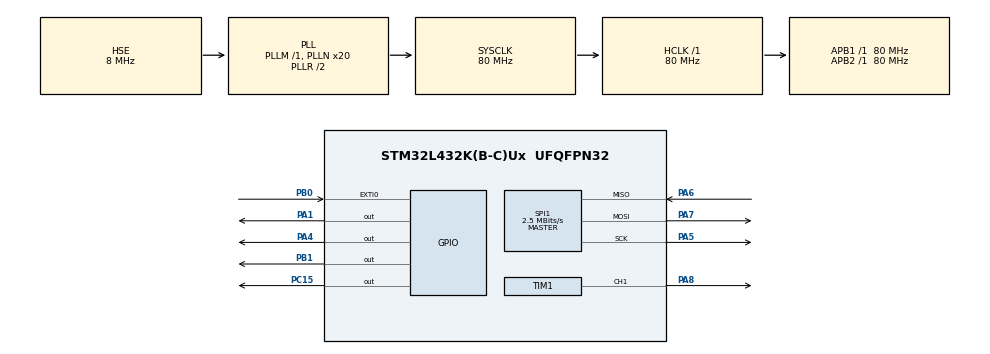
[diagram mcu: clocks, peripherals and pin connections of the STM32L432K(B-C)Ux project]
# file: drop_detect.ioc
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Dma.Request0=SPI1_RX
Dma.Request1=SPI1_TX
Dma.Request2=TIM1_CH1
Dma.SPI1_RX.0.Direction=DMA_PERIPH_TO_MEMORY
Dma.SPI1_RX.0.Instance=DMA2_Channel3
Dma.SPI1_RX.0.MemDataAlignment=DMA_MDATAALIGN_BYTE
Dma.SPI1_RX.0.MemInc=DMA_MINC_ENABLE
Dma.SPI1_RX.0.Mode=DMA_NORMAL
Dma.SPI1_RX.0.PeriphDataAlignment=DMA_PDATAALIGN_BYTE
Dma.SPI1_RX.0.PeriphInc=DMA_PINC_DISABLE
Dma.SPI1_RX.0.Priority=DMA_PRIORITY_LOW
Dma.SPI1_TX.1.Direction=DMA_MEMORY_TO_PERIPH
Dma.SPI1_TX.1.Instance=DMA2_Channel4
Dma.SPI1_TX.1.MemDataAlignment=DMA_MDATAALIGN_BYTE
Dma.SPI1_TX.1.MemInc=DMA_MINC_ENABLE
Dma.SPI1_TX.1.Mode=DMA_NORMAL
Dma.SPI1_TX.1.PeriphDataAlignment=DMA_PDATAALIGN_BYTE
Dma.SPI1_TX.1.PeriphInc=DMA_PINC_DISABLE
Dma.SPI1_TX.1.Priority=DMA_PRIORITY_LOW
Dma.TIM1_CH1.2.Direction=DMA_MEMORY_TO_PERIPH
Dma.TIM1_CH1.2.Instance=DMA1_Channel2
Dma.TIM1_CH1.2.MemDataAlignment=DMA_MDATAALIGN_BYTE
Dma.TIM1_CH1.2.MemInc=DMA_MINC_ENABLE
Dma.TIM1_CH1.2.Mode=DMA_NORMAL
Dma.TIM1_CH1.2.PeriphDataAlignment=DMA_PDATAALIGN_HALFWORD
Dma.TIM1_CH1.2.PeriphInc=DMA_PINC_DISABLE
Dma.TIM1_CH1.2.Priority=DMA_PRIORITY_LOW
FREERTOS.Tasks01=defaultTask,24,128,StartDefaultTask,Default,NULL,Dynamic,NULL,NULL;dropDetect,32,128,StartDropDetect,Default,NULL,Dynamic,NULL,NULL
Mcu.Family=STM32L4
Mcu.Name=STM32L432K(B-C)Ux
Mcu.Package=UFQFPN32
NVIC.DMA1_Channel2_IRQn=true\:5\:0\:false\:false\:true\:true\:false\:true\:true
NVIC.DMA2_Channel3_IRQn=true\:5\:0\:true\:false\:true\:true\:false\:true\:true
NVIC.DMA2_Channel4_IRQn=true\:5\:0\:false\:false\:true\:true\:false\:true\:true
NVIC.EXTI0_IRQn=true\:5\:0\:true\:false\:true\:true\:true\:true\:true
NVIC.PriorityGroup=NVIC_PRIORITYGROUP_4
NVIC.TIM1_UP_TIM16_IRQn=true\:5\:0\:false\:false\:true\:false\:false\:true\:true
NVIC.TimeBase=TIM1_UP_TIM16_IRQn
NVIC.TimeBaseIP=TIM16
PA0.Mode=HSE-External-Clock-Source-for-LittleOrca
PA0.Signal=RCC_CK_IN
PA1.PinState=GPIO_PIN_SET
PA1.Signal=GPIO_Output
PA13\ (JTMS-SWDIO).Mode=Trace_Asynchronous_SW
PA13\ (JTMS-SWDIO).Signal=SYS_JTMS-SWDIO
PA14\ (JTCK-SWCLK).Mode=Trace_Asynchronous_SW
PA14\ (JTCK-SWCLK).Signal=SYS_JTCK-SWCLK
PA4.PinState=GPIO_PIN_SET
PA4.Signal=GPIO_Output
PA5.Mode=Full_Duplex_Master
PA5.Signal=SPI1_SCK
PA6.Mode=Full_Duplex_Master
PA6.Signal=SPI1_MISO
PA7.Mode=Full_Duplex_Master
PA7.Signal=SPI1_MOSI
PA8.Signal=S_TIM1_CH1
PB0.GPIO_ModeDefaultEXTI=GPIO_MODE_IT_FALLING
PB0.GPIO_PuPd=GPIO_PULLUP
PB0.Signal=GPXTI0
PB1.PinState=GPIO_PIN_SET
PB1.Signal=GPIO_Output
PB3\ (JTDO-TRACESWO).Mode=Trace_Asynchronous_SW
PB3\ (JTDO-TRACESWO).Signal=SYS_JTDO-SWO
PC15-OSC32_OUT\ (PC15).GPIO_PuPd=GPIO_PULLDOWN
PC15-OSC32_OUT\ (PC15).Signal=GPIO_Output
ProjectManager.HeapSize=0x200
ProjectManager.StackSize=0x400
ProjectManager.TargetToolchain=CMake
RCC.ADCFreq_Value=32000000
RCC.AHBFreq_Value=80000000
RCC.APB1Freq_Value=80000000
RCC.APB1TimFreq_Value=80000000
RCC.APB2Freq_Value=80000000
RCC.APB2TimFreq_Value=80000000
RCC.CortexFreq_Value=80000000
RCC.HCLKFreq_Value=80000000
RCC.HSE_VALUE=8000000
RCC.HSI16_VALUE=16000000
RCC.HSI48_VALUE=48000000
RCC.HSI_VALUE=16000000
RCC.LSE_VALUE=32768
RCC.MSI_VALUE=4000000
RCC.PLLMUL=RCC_PLLMUL_4
RCC.PLLN=20
RCC.PLLSourceVirtual=RCC_PLLSOURCE_HSE
RCC.SYSCLKFreq_VALUE=80000000
RCC.SYSCLKSource=RCC_SYSCLKSOURCE_PLLCLK
RCC.USBFreq_Value=32000000
RCC.VCOOutputFreq_Value=160000000
SH.S_TIM1_CH1.0=TIM1_CH1,PWM Generation1 CH1
SPI1.BaudRatePrescaler=SPI_BAUDRATEPRESCALER_32
SPI1.CLKPhase=SPI_PHASE_2EDGE
SPI1.CLKPolarity=SPI_POLARITY_HIGH
SPI1.CalculateBaudRate=2.5 MBits/s
SPI1.DataSize=SPI_DATASIZE_8BIT
SPI1.Direction=SPI_DIRECTION_2LINES
SPI1.Mode=SPI_MODE_MASTER
SPI1.VirtualType=VM_MASTER
TIM1.Channel-PWM\ Generation1\ CH1=TIM_CHANNEL_1
TIM1.Period=25-1
TIM1.Prescaler=3-1
TIM2.Channel-PWM\ Generation1\ No\ Output=TIM_CHANNEL_1
TIM2.Prescaler=79
VP_FREERTOS_VS_CMSIS_V2.Mode=CMSIS_V2
VP_SYS_VS_tim16.Mode=TIM16
VP_TIM2_VS_no_output1.Mode=PWM Generation1 No Output
board=NUCLEO-L432KC

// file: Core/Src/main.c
/* USER CODE BEGIN Header */
/**
  ******************************************************************************
  * @file           : main.c
  * @brief          : Main program body
  ******************************************************************************
  * @attention
  *
  * Copyright (c) 2025 STMicroelectronics.
  * All rights reserved.
  *
  * This software is licensed under terms that can be found in the LICENSE file
  * in the root directory of this software component.
  * If no LICENSE file comes with this software, it is provided AS-IS.
  *
  ******************************************************************************
  */
/* USER CODE END Header */
#include "main.h"
#include "cmsis_os.h"

/* USER CODE BEGIN Includes */
#include "bno085_runner.h"
#include "configuration.h"
#include "drop_detect.h"
#include "ws2812b_hal_pwm.h"
#if !DROP_DETECT_USE_FREERTOS
#include "scheduler.h"
#endif
/* USER CODE END Includes */

SPI_HandleTypeDef hspi1;
DMA_HandleTypeDef hdma_spi1_rx;
DMA_HandleTypeDef hdma_spi1_tx;

TIM_HandleTypeDef htim1;
TIM_HandleTypeDef htim2;
DMA_HandleTypeDef hdma_tim1_ch1;

/* Definitions for defaultTask */
osThreadId_t defaultTaskHandle;
const osThreadAttr_t defaultTask_attributes = {
  .name = "defaultTask",
  .stack_size = 128 * 4,
  .priority = (osPriority_t) osPriorityNormal,
};
/* Definitions for dropDetect */
osThreadId_t dropDetectHandle;
const osThreadAttr_t dropDetect_attributes = {
  .name = "dropDetect",
  .stack_size = 128 * 4,
  .priority = (osPriority_t) osPriorityAboveNormal,
};

void SystemClock_Config(void);
static void MX_GPIO_Init(void);
static void MX_DMA_Init(void);
static void MX_SPI1_Init(void);
static void MX_TIM2_Init(void);
static void MX_TIM1_Init(void);
void StartDefaultTask(void *argument);
void StartDropDetect(void *argument);

int main(void)
{

  /* MCU Configuration--------------------------------------------------------*/

  /* Reset of all peripherals, Initializes the Flash interface and the Systick. */
  HAL_Init();

  /* Configure the system clock */
  SystemClock_Config();

  /* Initialize all configured peripherals */
  MX_GPIO_Init();
  MX_DMA_Init();
  MX_SPI1_Init();
  MX_TIM2_Init();
  MX_TIM1_Init();
  /* USER CODE BEGIN 2 */
  // Initialize WS2812B.
  ws2812b_init();
  ws2812b_set_colour(0, 2, 1, 3); // Init colour.
  ws2812b_update();

  // Initialize BNO085.
  bno085_reset();
  bno085_init();

  HAL_Delay(1000); // TODO: Weird behaviour, might be related to IMU settling.

#if DROP_DETECT_USE_FREERTOS
  /* USER CODE END 2 */

  /* Init scheduler */
  osKernelInitialize();

  /* Create the thread(s) */
  /* creation of defaultTask */
  defaultTaskHandle = osThreadNew(StartDefaultTask, NULL, &defaultTask_attributes);

  /* creation of dropDetect */
  dropDetectHandle = osThreadNew(StartDropDetect, NULL, &dropDetect_attributes);

  /* Start scheduler */
  osKernelStart();

  /* We should never get here as control is now taken by the scheduler */

  /* Infinite loop */
  /* USER CODE BEGIN WHILE */
#else
  scheduler_init(); // Initialize scheduler.
  scheduler_add_task(bno085_run, 1);
  scheduler_add_task(compute_drop_detect, 5);
#endif

  while (1) {
#if !DROP_DETECT_USE_FREERTOS
    scheduler_run(); // Run the scheduler.
#endif
    /* USER CODE END WHILE */

  }
}

void SystemClock_Config(void)
{
  RCC_OscInitTypeDef RCC_OscInitStruct = {0};
  RCC_ClkInitTypeDef RCC_ClkInitStruct = {0};

  /** Configure the main internal regulator output voltage
  */
  if (HAL_PWREx_ControlVoltageScaling(PWR_REGULATOR_VOLTAGE_SCALE1) != HAL_OK)
  {
    Error_Handler();
  }

  /** Initializes the RCC Oscillators according to the specified parameters
  * in the RCC_OscInitTypeDef structure.
  */
  RCC_OscInitStruct.OscillatorType = RCC_OSCILLATORTYPE_HSE;
  RCC_OscInitStruct.HSEState = RCC_HSE_BYPASS;
  RCC_OscInitStruct.PLL.PLLState = RCC_PLL_ON;
  RCC_OscInitStruct.PLL.PLLSource = RCC_PLLSOURCE_HSE;
  RCC_OscInitStruct.PLL.PLLM = 1;
  RCC_OscInitStruct.PLL.PLLN = 20;
  RCC_OscInitStruct.PLL.PLLP = RCC_PLLP_DIV7;
  RCC_OscInitStruct.PLL.PLLQ = RCC_PLLQ_DIV2;
  RCC_OscInitStruct.PLL.PLLR = RCC_PLLR_DIV2;
  if (HAL_RCC_OscConfig(&RCC_OscInitStruct) != HAL_OK)
  {
    Error_Handler();
  }

  /** Initializes the CPU, AHB and APB buses clocks
  */
  RCC_ClkInitStruct.ClockType = RCC_CLOCKTYPE_HCLK|RCC_CLOCKTYPE_SYSCLK
                              |RCC_CLOCKTYPE_PCLK1|RCC_CLOCKTYPE_PCLK2;
  RCC_ClkInitStruct.SYSCLKSource = RCC_SYSCLKSOURCE_PLLCLK;
  RCC_ClkInitStruct.AHBCLKDivider = RCC_SYSCLK_DIV1;
  RCC_ClkInitStruct.APB1CLKDivider = RCC_HCLK_DIV1;
  RCC_ClkInitStruct.APB2CLKDivider = RCC_HCLK_DIV1;

  if (HAL_RCC_ClockConfig(&RCC_ClkInitStruct, FLASH_LATENCY_4) != HAL_OK)
  {
    Error_Handler();
  }
}

static void MX_SPI1_Init(void)
{

  /* SPI1 parameter configuration*/
  hspi1.Instance = SPI1;
  hspi1.Init.Mode = SPI_MODE_MASTER;
  hspi1.Init.Direction = SPI_DIRECTION_2LINES;
  hspi1.Init.DataSize = SPI_DATASIZE_8BIT;
  hspi1.Init.CLKPolarity = SPI_POLARITY_HIGH;
  hspi1.Init.CLKPhase = SPI_PHASE_2EDGE;
  hspi1.Init.NSS = SPI_NSS_SOFT;
  hspi1.Init.BaudRatePrescaler = SPI_BAUDRATEPRESCALER_32;
  hspi1.Init.FirstBit = SPI_FIRSTBIT_MSB;
  hspi1.Init.TIMode = SPI_TIMODE_DISABLE;
  hspi1.Init.CRCCalculation = SPI_CRCCALCULATION_DISABLE;
  hspi1.Init.CRCPolynomial = 7;
  hspi1.Init.CRCLength = SPI_CRC_LENGTH_DATASIZE;
  hspi1.Init.NSSPMode = SPI_NSS_PULSE_DISABLE;
  if (HAL_SPI_Init(&hspi1) != HAL_OK)
  {
    Error_Handler();
  }

}

static void MX_TIM1_Init(void)
{

  TIM_MasterConfigTypeDef sMasterConfig = {0};
  TIM_OC_InitTypeDef sConfigOC = {0};
  TIM_BreakDeadTimeConfigTypeDef sBreakDeadTimeConfig = {0};

  htim1.Instance = TIM1;
  htim1.Init.Prescaler = 3-1;
  htim1.Init.CounterMode = TIM_COUNTERMODE_UP;
  htim1.Init.Period = 25-1;
  htim1.Init.ClockDivision = TIM_CLOCKDIVISION_DIV1;
  htim1.Init.RepetitionCounter = 0;
  htim1.Init.AutoReloadPreload = TIM_AUTORELOAD_PRELOAD_DISABLE;
  if (HAL_TIM_PWM_Init(&htim1) != HAL_OK)
  {
    Error_Handler();
  }
  sMasterConfig.MasterOutputTrigger = TIM_TRGO_RESET;
  sMasterConfig.MasterOutputTrigger2 = TIM_TRGO2_RESET;
  sMasterConfig.MasterSlaveMode = TIM_MASTERSLAVEMODE_DISABLE;
  if (HAL_TIMEx_MasterConfigSynchronization(&htim1, &sMasterConfig) != HAL_OK)
  {
    Error_Handler();
  }
  sConfigOC.OCMode = TIM_OCMODE_PWM1;
  sConfigOC.Pulse = 0;
  sConfigOC.OCPolarity = TIM_OCPOLARITY_HIGH;
  sConfigOC.OCNPolarity = TIM_OCNPOLARITY_HIGH;
  sConfigOC.OCFastMode = TIM_OCFAST_DISABLE;
  sConfigOC.OCIdleState = TIM_OCIDLESTATE_RESET;
  sConfigOC.OCNIdleState = TIM_OCNIDLESTATE_RESET;
  if (HAL_TIM_PWM_ConfigChannel(&htim1, &sConfigOC, TIM_CHANNEL_1) != HAL_OK)
  {
    Error_Handler();
  }
  sBreakDeadTimeConfig.OffStateRunMode = TIM_OSSR_DISABLE;
  sBreakDeadTimeConfig.OffStateIDLEMode = TIM_OSSI_DISABLE;
  sBreakDeadTimeConfig.LockLevel = TIM_LOCKLEVEL_OFF;
  sBreakDeadTimeConfig.DeadTime = 0;
  sBreakDeadTimeConfig.BreakState = TIM_BREAK_DISABLE;
  sBreakDeadTimeConfig.BreakPolarity = TIM_BREAKPOLARITY_HIGH;
  sBreakDeadTimeConfig.BreakFilter = 0;
  sBreakDeadTimeConfig.Break2State = TIM_BREAK2_DISABLE;
  sBreakDeadTimeConfig.Break2Polarity = TIM_BREAK2POLARITY_HIGH;
  sBreakDeadTimeConfig.Break2Filter = 0;
  sBreakDeadTimeConfig.AutomaticOutput = TIM_AUTOMATICOUTPUT_DISABLE;
  if (HAL_TIMEx_ConfigBreakDeadTime(&htim1, &sBreakDeadTimeConfig) != HAL_OK)
  {
    Error_Handler();
  }
  HAL_TIM_MspPostInit(&htim1);

}

static void MX_TIM2_Init(void)
{

  TIM_MasterConfigTypeDef sMasterConfig = {0};
  TIM_OC_InitTypeDef sConfigOC = {0};

  htim2.Instance = TIM2;
  htim2.Init.Prescaler = 79;
  htim2.Init.CounterMode = TIM_COUNTERMODE_UP;
  htim2.Init.Period = 4294967295;
  htim2.Init.ClockDivision = TIM_CLOCKDIVISION_DIV1;
  htim2.Init.AutoReloadPreload = TIM_AUTORELOAD_PRELOAD_DISABLE;
  if (HAL_TIM_PWM_Init(&htim2) != HAL_OK)
  {
    Error_Handler();
  }
  sMasterConfig.MasterOutputTrigger = TIM_TRGO_RESET;
  sMasterConfig.MasterSlaveMode = TIM_MASTERSLAVEMODE_DISABLE;
  if (HAL_TIMEx_MasterConfigSynchronization(&htim2, &sMasterConfig) != HAL_OK)
  {
    Error_Handler();
  }
  sConfigOC.OCMode = TIM_OCMODE_PWM1;
  sConfigOC.Pulse = 0;
  sConfigOC.OCPolarity = TIM_OCPOLARITY_HIGH;
  sConfigOC.OCFastMode = TIM_OCFAST_DISABLE;
  if (HAL_TIM_PWM_ConfigChannel(&htim2, &sConfigOC, TIM_CHANNEL_1) != HAL_OK)
  {
    Error_Handler();
  }

}

static void MX_DMA_Init(void)
{

  /* DMA controller clock enable */
  __HAL_RCC_DMA2_CLK_ENABLE();
  __HAL_RCC_DMA1_CLK_ENABLE();

  /* DMA interrupt init */
  /* DMA1_Channel2_IRQn interrupt configuration */
  HAL_NVIC_SetPriority(DMA1_Channel2_IRQn, 5, 0);
  HAL_NVIC_EnableIRQ(DMA1_Channel2_IRQn);
  /* DMA2_Channel3_IRQn interrupt configuration */
  HAL_NVIC_SetPriority(DMA2_Channel3_IRQn, 5, 0);
  HAL_NVIC_EnableIRQ(DMA2_Channel3_IRQn);
  /* DMA2_Channel4_IRQn interrupt configuration */
  HAL_NVIC_SetPriority(DMA2_Channel4_IRQn, 5, 0);
  HAL_NVIC_EnableIRQ(DMA2_Channel4_IRQn);

}

static void MX_GPIO_Init(void)
{
  GPIO_InitTypeDef GPIO_InitStruct = {0};

  /* GPIO Ports Clock Enable */
  __HAL_RCC_GPIOC_CLK_ENABLE();
  __HAL_RCC_GPIOA_CLK_ENABLE();
  __HAL_RCC_GPIOB_CLK_ENABLE();

  /*Configure GPIO pin Output Level */
  HAL_GPIO_WritePin(GPIOC, GPIO_PIN_15, GPIO_PIN_RESET);

  /*Configure GPIO pin Output Level */
  HAL_GPIO_WritePin(GPIOA, GPIO_PIN_1|GPIO_PIN_4, GPIO_PIN_SET);

  /*Configure GPIO pin Output Level */
  HAL_GPIO_WritePin(GPIOB, GPIO_PIN_1, GPIO_PIN_SET);

  /*Configure GPIO pin : PC15 */
  GPIO_InitStruct.Pin = GPIO_PIN_15;
  GPIO_InitStruct.Mode = GPIO_MODE_OUTPUT_PP;
  GPIO_InitStruct.Pull = GPIO_PULLDOWN;
  GPIO_InitStruct.Speed = GPIO_SPEED_FREQ_LOW;
  HAL_GPIO_Init(GPIOC, &GPIO_InitStruct);

  /*Configure GPIO pins : PA1 PA4 */
  GPIO_InitStruct.Pin = GPIO_PIN_1|GPIO_PIN_4;
  GPIO_InitStruct.Mode = GPIO_MODE_OUTPUT_PP;
  GPIO_InitStruct.Pull = GPIO_NOPULL;
  GPIO_InitStruct.Speed = GPIO_SPEED_FREQ_LOW;
  HAL_GPIO_Init(GPIOA, &GPIO_InitStruct);

  /*Configure GPIO pin : PB0 */
  GPIO_InitStruct.Pin = GPIO_PIN_0;
  GPIO_InitStruct.Mode = GPIO_MODE_IT_FALLING;
  GPIO_InitStruct.Pull = GPIO_PULLUP;
  HAL_GPIO_Init(GPIOB, &GPIO_InitStruct);

  /*Configure GPIO pin : PB1 */
  GPIO_InitStruct.Pin = GPIO_PIN_1;
  GPIO_InitStruct.Mode = GPIO_MODE_OUTPUT_PP;
  GPIO_InitStruct.Pull = GPIO_NOPULL;
  GPIO_InitStruct.Speed = GPIO_SPEED_FREQ_LOW;
  HAL_GPIO_Init(GPIOB, &GPIO_InitStruct);

  /* EXTI interrupt init*/
  HAL_NVIC_SetPriority(EXTI0_IRQn, 5, 0);
  HAL_NVIC_EnableIRQ(EXTI0_IRQn);

}

void StartDefaultTask(void *argument)
{
  /* USER CODE BEGIN 5 */
  /* Infinite loop */
  for (;;) {
    bno085_run(); // BNO085 process.
    osDelay(1);
  }
  /* USER CODE END 5 */
}

void StartDropDetect(void *argument)
{
  /* USER CODE BEGIN StartDropDetect */
  /* Infinite loop */
  for (;;) {
    compute_drop_detect(); // Compute and check for drop state.
    osDelay(5);
  }
  /* USER CODE END StartDropDetect */
}

void HAL_TIM_PeriodElapsedCallback(TIM_HandleTypeDef *htim)
{
  if (htim->Instance == TIM16)
  {
    HAL_IncTick();
  }
}

void Error_Handler(void)
{
  __disable_irq();
  while (1)
  {
  }
}
